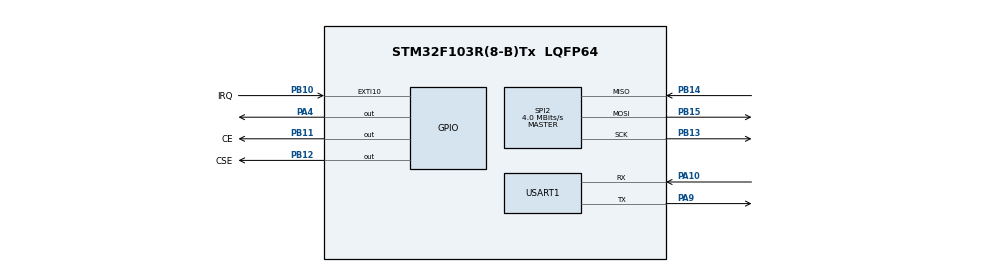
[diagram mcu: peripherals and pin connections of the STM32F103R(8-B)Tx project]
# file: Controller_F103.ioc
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Mcu.Family=STM32F1
Mcu.Name=STM32F103R(8-B)Tx
Mcu.Package=LQFP64
NVIC.EXTI15_10_IRQn=true\:0\:0\:false\:false\:true\:true\:true\:true
NVIC.PriorityGroup=NVIC_PRIORITYGROUP_4
NVIC.SPI2_IRQn=true\:0\:0\:false\:false\:true\:true\:true\:true
NVIC.USART1_IRQn=true\:0\:0\:false\:false\:true\:true\:true\:true
PA10.Mode=Asynchronous
PA10.Signal=USART1_RX
PA13.Mode=JTAG_5_pins
PA13.Signal=SYS_JTMS-SWDIO
PA14.Mode=JTAG_5_pins
PA14.Signal=SYS_JTCK-SWCLK
PA15.Mode=JTAG_5_pins
PA15.Signal=SYS_JTDI
PA4.GPIO_ModeDefaultOutputPP=GPIO_MODE_OUTPUT_PP
PA4.GPIO_Speed=GPIO_SPEED_FREQ_HIGH
PA4.PinState=GPIO_PIN_SET
PA4.Signal=GPIO_Output
PA9.Mode=Asynchronous
PA9.Signal=USART1_TX
PB10.GPIO_Label=IRQ
PB10.GPIO_ModeDefaultEXTI=GPIO_MODE_IT_FALLING
PB10.GPIO_PuPd=GPIO_NOPULL
PB10.Signal=GPXTI10
PB11.GPIO_Label=CE
PB11.GPIO_Speed=GPIO_SPEED_FREQ_HIGH
PB11.PinState=GPIO_PIN_SET
PB11.Signal=GPIO_Output
PB12.GPIO_Label=CSE
PB12.GPIO_Speed=GPIO_SPEED_FREQ_HIGH
PB12.PinState=GPIO_PIN_SET
PB12.Signal=GPIO_Output
PB13.Mode=Full_Duplex_Master
PB13.Signal=SPI2_SCK
PB14.Mode=Full_Duplex_Master
PB14.Signal=SPI2_MISO
PB15.Mode=Full_Duplex_Master
PB15.Signal=SPI2_MOSI
PB3.Mode=JTAG_5_pins
PB3.Signal=SYS_JTDO-TRACESWO
PB4.Mode=JTAG_5_pins
PB4.Signal=SYS_NJTRST
PC14-OSC32_IN.Mode=LSE-External-Oscillator
PC14-OSC32_IN.Signal=RCC_OSC32_IN
PC15-OSC32_OUT.Mode=LSE-External-Oscillator
PC15-OSC32_OUT.Signal=RCC_OSC32_OUT
PD0-OSC_IN.Mode=HSE-External-Oscillator
PD0-OSC_IN.Signal=RCC_OSC_IN
PD1-OSC_OUT.Mode=HSE-External-Oscillator
PD1-OSC_OUT.Signal=RCC_OSC_OUT
ProjectManager.HeapSize=0x200
ProjectManager.StackSize=0x400
ProjectManager.TargetToolchain=STM32CubeIDE
RCC.APB1Freq_Value=8000000
RCC.APB2Freq_Value=8000000
RCC.SYSCLKSource=RCC_SYSCLKSOURCE_HSE
SPI2.CalculateBaudRate=4.0 MBits/s
SPI2.Direction=SPI_DIRECTION_2LINES
SPI2.Mode=SPI_MODE_MASTER
SPI2.VirtualType=VM_MASTER
USART1.VirtualMode=VM_ASYNC
board=custom

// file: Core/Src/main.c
/* USER CODE BEGIN Header */
/**
 ******************************************************************************
 * @file           : main.c
 * @brief          : Main program body
 ******************************************************************************
 * @attention
 *
 * Copyright (c) 2023 STMicroelectronics.
 * All rights reserved.
 *
 * This software is licensed under terms that can be found in the LICENSE file
 * in the root directory of this software component.
 * If no LICENSE file comes with this software, it is provided AS-IS.
 *
 ******************************************************************************
 */
/* USER CODE END Header */
#include "main.h"
#include "spi.h"
#include "usart.h"
#include "gpio.h"

/* USER CODE BEGIN Includes */
#include "nrf24l01p.h"
#include "motor.h"
/* USER CODE END Includes */

/* USER CODE BEGIN PD */
#define TxBufferSize (countof(TxBuffer) - 1)
#define RxBufferSize 0xFF
#define countof(a) (sizeof(a) / sizeof(*(a)))
/* USER CODE END PD */

/* USER CODE BEGIN PV */
uint8_t TxBuffer[] = "\n\rCar Controller\n\r w: forward a: left s: backward d: right else: stop\n\r";
uint8_t RxBuffer[RxBufferSize];
uint8_t rx_data[NRF24L01P_PAYLOAD_LENGTH] = { 0, };
/* USER CODE END PV */

void SystemClock_Config(void);

int main(void)
{

	/* MCU Configuration--------------------------------------------------------*/

	/* Reset of all peripherals, Initializes the Flash interface and the Systick. */
	HAL_Init();

	/* Configure the system clock */
	SystemClock_Config();

	/* Initialize all configured peripherals */
	MX_GPIO_Init();
	MX_SPI2_Init();
	MX_USART1_UART_Init();
	/* USER CODE BEGIN 2 */
	nrf24l01p_rx_init(2462, _1Mbps); // Channel 11
	HAL_GPIO_WritePin(GPIOA, GPIO_PIN_4, GPIO_PIN_SET);
	HAL_UART_Transmit(&huart1, (uint8_t*)TxBuffer, TxBufferSize , 0xFFFF);
	/* USER CODE END 2 */

	/* Infinite loop */
	/* USER CODE BEGIN WHILE */
	while (1)
	{
		HAL_UART_Receive_IT(&huart1, (uint8_t*)RxBuffer,1);
		/* USER CODE END WHILE */

	}
}

void SystemClock_Config(void)
{
	RCC_OscInitTypeDef RCC_OscInitStruct = {0};
	RCC_ClkInitTypeDef RCC_ClkInitStruct = {0};

	/** Initializes the RCC Oscillators according to the specified parameters
	 * in the RCC_OscInitTypeDef structure.
	 */
	RCC_OscInitStruct.OscillatorType = RCC_OSCILLATORTYPE_HSE;
	RCC_OscInitStruct.HSEState = RCC_HSE_ON;
	RCC_OscInitStruct.PLL.PLLState = RCC_PLL_NONE;
	if (HAL_RCC_OscConfig(&RCC_OscInitStruct) != HAL_OK)
	{
		Error_Handler();
	}

	/** Initializes the CPU, AHB and APB buses clocks
	 */
	RCC_ClkInitStruct.ClockType = RCC_CLOCKTYPE_HCLK|RCC_CLOCKTYPE_SYSCLK
			|RCC_CLOCKTYPE_PCLK1|RCC_CLOCKTYPE_PCLK2;
	RCC_ClkInitStruct.SYSCLKSource = RCC_SYSCLKSOURCE_HSE;
	RCC_ClkInitStruct.AHBCLKDivider = RCC_SYSCLK_DIV1;
	RCC_ClkInitStruct.APB1CLKDivider = RCC_HCLK_DIV1;
	RCC_ClkInitStruct.APB2CLKDivider = RCC_HCLK_DIV1;

	if (HAL_RCC_ClockConfig(&RCC_ClkInitStruct, FLASH_LATENCY_0) != HAL_OK)
	{
		Error_Handler();
	}
}

/* USER CODE BEGIN 4 */
void HAL_UART_TxCpltCallback(UART_HandleTypeDef *UartHandler)
{
	HAL_UART_Transmit(UartHandler, (uint8_t*)TxBuffer, TxBufferSize , 0xFFFF);
}

void HAL_UART_RxCpltCallback(UART_HandleTypeDef *UartHandler)
{
	if (RxBuffer[0] == 'W' || RxBuffer[0] == 'w') {
		go_forward();
	} else if (RxBuffer[0] == 'A' || RxBuffer[0] == 'a') {
		go_left();
	} else if (RxBuffer[0] == 'D' || RxBuffer[0] == 'd') {
		go_right();
	} else if (RxBuffer[0] == 'S' || RxBuffer[0] == 's') {
		go_backward();
	} else {
		stop();
	}
}

void HAL_GPIO_EXTI_Callback(uint16_t GPIO_Pin)
{
	if(GPIO_Pin == NRF24L01P_IRQ_PIN_NUMBER) {
		nrf24l01p_rx_receive(rx_data); // read data when data ready flag is set

		if (rx_data[0] == (uint8_t)1) {
			go_forward();
			HAL_GPIO_TogglePin(GPIOA, GPIO_PIN_4);
		} else if (rx_data[0] == (uint8_t)7) {
			go_left();
			HAL_GPIO_TogglePin(GPIOA, GPIO_PIN_4);
		} else if (rx_data[0] == (uint8_t)3) {
			go_right();
			HAL_GPIO_TogglePin(GPIOA, GPIO_PIN_4);
		} else if (rx_data[0] == (uint8_t)15) {
			go_backward();
			HAL_GPIO_TogglePin(GPIOA, GPIO_PIN_4);
		} else {
			stop();
			HAL_GPIO_TogglePin(GPIOA, GPIO_PIN_4);
		}
	}
}
/* USER CODE END 4 */

void Error_Handler(void)
{
	__disable_irq();
	while (1)
	{
	}
}
